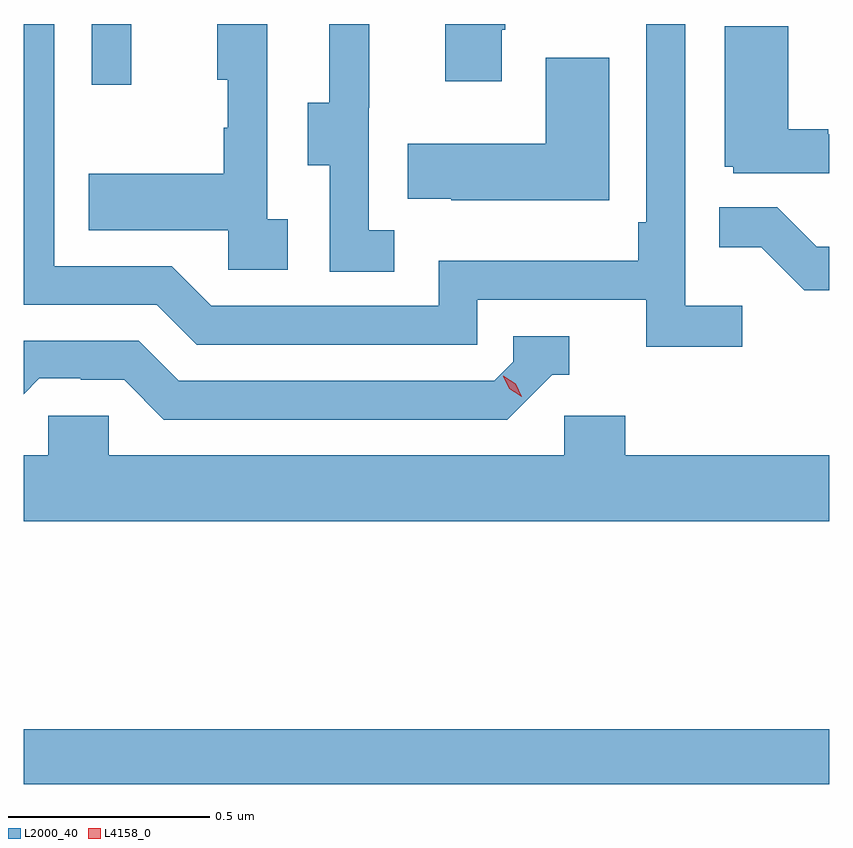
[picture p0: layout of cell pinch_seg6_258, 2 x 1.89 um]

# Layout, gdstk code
import gdstk
lib = gdstk.Library(unit=1e-6, precision=1e-09)
def R(c, l, rs):  # rectangles x0, y0, x1, y1
    for r in rs: c.add(gdstk.rectangle(r[:2], r[2:], *l))
def P(c, l, *ps):  # polygons
    for p in ps: c.add(gdstk.Polygon(p, *l))
L2000_40 = (2000, 40)
L4158_0 = (4158, 0)

pinch_seg6_258 = lib.new_cell('pinch_seg6_258')
R(pinch_seg6_258, L2000_40, [(1137.962,916.048,1139.962,916.184), (1138.131,917.784,1138.229,917.935)])
P(pinch_seg6_258, L2000_40, [(1139.149,917.921),(1139.157,917.921),(1139.157,917.935),(1139.009,917.935),(1139.009,917.793),(1139.149,917.793)],
  [(1138.882,917.423),(1138.818,917.423),(1138.818,917.727),(1138.82,917.727),(1138.82,917.935),(1138.721,917.935),(1138.721,917.739),(1138.667,917.739),(1138.667,917.584),(1138.722,917.584),(1138.722,917.32),(1138.882,917.32)],
  [(1139.746,917.236),(1139.604,917.236),(1139.604,917.935),(1139.508,917.935),(1139.508,917.443),(1139.488,917.443),(1139.488,917.347),(1138.992,917.347),(1138.992,917.235),(1138.428,917.235),(1138.329,917.334),(1138.038,917.334),(1138.038,917.935),(1137.962,917.935),(1137.962,917.238),(1138.292,917.238),(1138.391,917.139),(1139.088,917.139),(1139.088,917.25),(1139.507,917.25),(1139.507,917.134),(1139.746,917.134)],
  [(1138.618,917.45),(1138.566,917.45),(1138.566,917.935),(1138.442,917.935),(1138.442,917.796),(1138.468,917.796),(1138.468,917.678),(1138.458,917.678),(1138.458,917.563),(1138.123,917.563),(1138.123,917.423),(1138.47,917.423),(1138.47,917.325),(1138.618,917.325)],
  [(1139.962,917.661),(1139.96,917.661),(1139.96,917.674),(1139.86,917.674),(1139.86,917.929),(1139.702,917.929),(1139.702,917.58),(1139.724,917.58),(1139.724,917.565),(1139.962,917.565)],
  [(1139.416,917.851),(1139.258,917.851),(1139.258,917.638),(1138.915,917.638),(1138.915,917.501),(1139.023,917.501),(1139.023,917.498),(1139.416,917.498)],
  [(1139.962,917.382),(1139.931,917.382),(1139.833,917.48),(1139.689,917.48),(1139.689,917.381),(1139.793,917.381),(1139.9,917.274),(1139.962,917.274)],
  [(1139.274,917.064),(1139.317,917.064),(1139.317,917.16),(1139.178,917.16),(1139.178,917.097),(1139.13,917.049),(1138.347,917.049),(1138.248,917.148),(1137.962,917.148),(1137.962,917.016),(1138.001,917.055),(1138.104,917.055),(1138.104,917.052),(1138.211,917.052),(1138.31,916.953),(1139.163,916.953)],
  [(1139.962,916.864),(1139.456,916.864),(1139.456,916.962),(1139.304,916.962),(1139.304,916.864),(1138.173,916.864),(1138.173,916.962),(1138.023,916.962),(1138.023,916.864),(1137.962,916.864),(1137.962,916.7),(1139.962,916.7)])
P(pinch_seg6_258, L4158_0, [(1139.199,917.009),(1139.168,917.029),(1139.152,917.061),(1139.152,917.062),(1139.152,917.062),(1139.183,917.042),(1139.199,917.009),(1139.199,917.009)])

lib.write_gds('pinch_seg6_258.gds')
